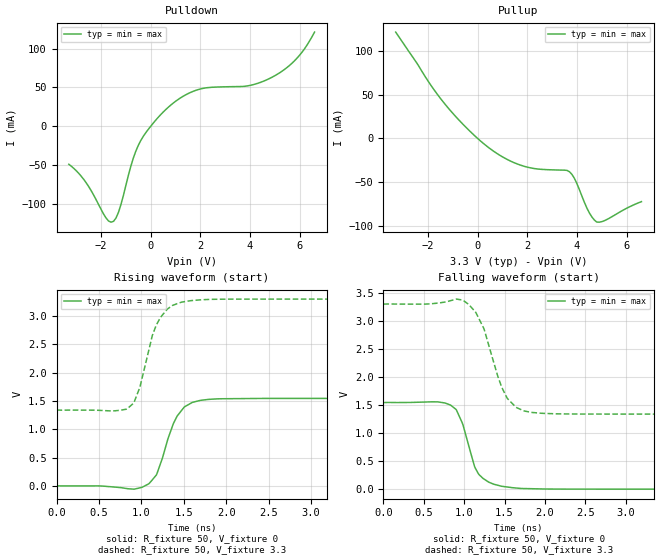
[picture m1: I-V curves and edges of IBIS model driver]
| IBIS file ex2_fast_5ps.ibs created by PYS2IBIS3
| Missouri S&T EMC Lab
[IBIS Ver] 7.1
[File Name] ex2_fast_5ps.ibs
[File Rev] 1.0
[Date] July 28, 2026
[Source] ex2 buffer.sp characterized with s2ibispy and HSPICE
[Notes] Controlled 5 ps source-edge characterization with two 50 ohm waveform
 fixtures.
[Disclaimer] Experimental characterization for pybis observability study.
[Component] MCM Driver 1
[Manufacturer] MegaFLOPS Inc.
[Package]
| variable   typ   min   max
R_pkg 0 NA NA
L_pkg 0H NA NA
C_pkg 0F NA NA
[Pin]  signal_name   model_name   R_pin   L_pin   C_pin
vdd   vdd   POWER
gnd   gnd   GND
| in in dummy
out   out   driver
| End of Component
| Models and submodels in the file (1): driver (Output)
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[Model] driver
Model_type Output
Polarity Non-Inverting
Enable Active-Low
Vinl  = 0.8V
Vinh  = 2V
C_comp 5.0000pF 5.0000pF 5.0000pF
[Temperature Range] 27.0000 27.0000 27.0000
[Voltage Range] 3.3000V 3.3000V 3.3000V
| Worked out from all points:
|   slope of the pulldown table from 0 to 0.495 V, typ, clamps not added: 27.4 ohm
|   slope of the pullup table from 0 to 0.495 V, typ, clamps not added: 42.7 ohm
|   rising waveform, R_fixture 50, V_fixture 0: 20-80 % time 218ps typ, 218ps min, 218ps max; typ from 0 V to 1.54 V
|   rising waveform, R_fixture 50, V_fixture 3.3: 20-80 % time 221ps typ, 221ps min, 221ps max; typ from 1.34 V to 3.3 V
|   falling waveform, R_fixture 50, V_fixture 0: 20-80 % time 204ps typ, 204ps min, 204ps max; typ from 1.54 V to 0 V
|   falling waveform, R_fixture 50, V_fixture 3.3: 20-80 % time 266ps typ, 266ps min, 266ps max; typ from 3.3 V to 1.34 V
[Pulldown]
| Voltage   I(typ)   I(min)   I(max)
-3.3V     -48.93mA   -48.93mA   -48.93mA
-2.6V     -72.86mA   -72.86mA   -72.86mA
-1.8V     -118.2mA   -118.2mA   -118.2mA
-1.5V     -122.5mA   -122.5mA   -122.5mA
-1.3V     -110.9mA   -110.9mA   -110.9mA
-500mV    -24.59mA   -24.59mA   -24.59mA
600mV     21.34mA    21.34mA    21.34mA
1.9V      47.12mA    47.12mA    47.12mA
3.9V      51.99mA    51.99mA    51.99mA
4.9V      63.38mA    63.38mA    63.38mA
5.9V      87.99mA    87.99mA    87.99mA
6.6V      121.3mA    121.3mA    121.3mA
[Pullup]
| Voltage   I(typ)   I(min)   I(max)
-3.3V     122mA      122mA      122mA
-1.9V     61.75mA    61.75mA    61.75mA
-1.3V     38.86mA    38.86mA    38.86mA
-200mV    5.278mA    5.278mA    5.278mA
700mV     -15.75mA   -15.75mA   -15.75mA
2V        -32.92mA   -32.92mA   -32.92mA
3.7V      -38.24mA   -38.24mA   -38.24mA
3.9V      -45.89mA   -45.89mA   -45.89mA
4.5V      -85.43mA   -85.43mA   -85.43mA
4.8V      -95.97mA   -95.97mA   -95.97mA
5.1V      -94.48mA   -94.48mA   -94.48mA
6.6V      -72.53mA   -72.53mA   -72.53mA
[Ramp]
| variable   typ   min   max
dV/dt_r 0.9270/0.2172n 0.9270/0.2172n 0.9270/0.2172n
dV/dt_f 1.1772/0.2641n 1.1772/0.2641n 1.1772/0.2641n
R_load = 50
[Rising Waveform]
R_fixture = 50
V_fixture = 0
|time   V(typ)   V(min)   V(max)
0s        7.302nV    7.302nV    7.302nV
912.9ps   -58.07mV   -58.07mV   -58.07mV
1.089ns   37.94mV    37.94mV    37.94mV
1.185ns   221.2mV    221.2mV    221.2mV
1.313ns   831.4mV    831.4mV    831.4mV
1.377ns   1.099V     1.099V     1.099V
1.425ns   1.24V      1.24V      1.24V
1.514ns   1.401V     1.401V     1.401V
1.746ns   1.52V      1.52V      1.52V
8ns       1.545V     1.545V     1.545V
[Rising Waveform]
R_fixture = 50
V_fixture = 3.3
|time   V(typ)   V(min)   V(max)
0s        1.338V     1.338V     1.338V
672.7ps   1.324V     1.324V     1.324V
832.8ps   1.361V     1.361V     1.361V
912.9ps   1.472V     1.472V     1.472V
977ps     1.72V      1.72V      1.72V
1.129ns   2.655V     2.655V     2.655V
1.225ns   2.974V     2.974V     2.974V
1.369ns   3.189V     3.189V     3.189V
1.562ns   3.268V     3.268V     3.268V
8ns       3.3V       3.3V       3.3V
[Falling Waveform]
R_fixture = 50
V_fixture = 0
|time   V(typ)   V(min)   V(max)
0s        1.545V     1.545V     1.545V
664.7ps   1.557V     1.557V     1.557V
832.8ps   1.498V     1.498V     1.498V
904.9ps   1.409V     1.409V     1.409V
977ps     1.179V     1.179V     1.179V
1.129ns   403.2mV    403.2mV    403.2mV
1.177ns   272.2mV    272.2mV    272.2mV
1.313ns   119.3mV    119.3mV    119.3mV
1.562ns   31.98mV    31.98mV    31.98mV
8ns       679.1nV    679.1nV    679.1nV
[Falling Waveform]
R_fixture = 50
V_fixture = 3.3
|time   V(typ)   V(min)   V(max)
0s        3.3V       3.3V       3.3V
904.9ps   3.389V     3.389V     3.389V
1.049ns   3.301V     3.301V     3.301V
1.145ns   3.148V     3.148V     3.148V
1.241ns   2.871V     2.871V     2.871V
1.409ns   2.041V     2.041V     2.041V
1.53ns    1.629V     1.629V     1.629V
1.642ns   1.459V     1.459V     1.459V
1.826ns   1.37V      1.37V      1.37V
8ns       1.338V     1.338V     1.338V
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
